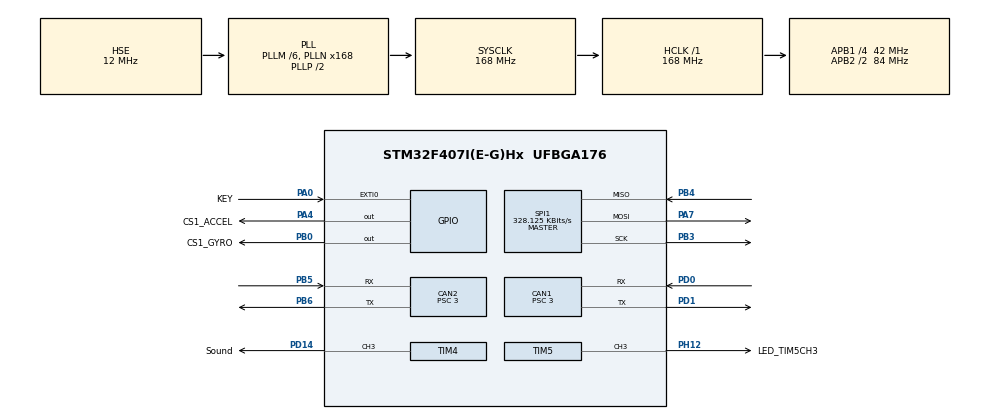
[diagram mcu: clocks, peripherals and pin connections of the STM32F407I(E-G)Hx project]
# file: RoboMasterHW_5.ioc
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CAN1.ABOM=ENABLE
CAN1.BS1=CAN_BS1_9TQ
CAN1.BS2=CAN_BS2_4TQ
CAN1.CalculateBaudRate=1000000
CAN1.CalculateTimeBit=1000
CAN1.CalculateTimeQuantum=71.42857142857143
CAN1.NART=ENABLE
CAN1.Prescaler=3
CAN2.ABOM=ENABLE
CAN2.BS1=CAN_BS1_9TQ
CAN2.BS2=CAN_BS2_4TQ
CAN2.CalculateBaudRate=1000000
CAN2.CalculateTimeBit=1000
CAN2.CalculateTimeQuantum=71.42857142857143
CAN2.NART=ENABLE
CAN2.Prescaler=3
Mcu.Family=STM32F4
Mcu.Name=STM32F407I(E-G)Hx
Mcu.Package=UFBGA176
NVIC.CAN1_RX0_IRQn=true\:5\:0\:true\:false\:true\:true\:true\:true
NVIC.EXTI0_IRQn=true\:0\:0\:false\:false\:true\:true\:true\:true
NVIC.PriorityGroup=NVIC_PRIORITYGROUP_4
NVIC.TIM1_UP_TIM10_IRQn=true\:0\:0\:false\:false\:true\:true\:true\:true
NVIC.TIM6_DAC_IRQn=true\:6\:0\:true\:false\:true\:true\:true\:true
PA0-WKUP.GPIO_Label=KEY
PA0-WKUP.GPIO_PuPd=GPIO_PULLDOWN
PA0-WKUP.Signal=GPXTI0
PA13.Mode=Serial_Wire
PA13.Signal=SYS_JTMS-SWDIO
PA14.Mode=Serial_Wire
PA14.Signal=SYS_JTCK-SWCLK
PA4.GPIO_Label=CS1_ACCEL
PA4.GPIO_ModeDefaultOutputPP=GPIO_MODE_OUTPUT_PP
PA4.GPIO_PuPd=GPIO_PULLUP
PA4.GPIO_Speed=GPIO_SPEED_FREQ_HIGH
PA4.Signal=GPIO_Output
PA7.GPIO_PuPd=GPIO_NOPULL
PA7.GPIO_Speed=GPIO_SPEED_FREQ_VERY_HIGH
PA7.Mode=Full_Duplex_Master
PA7.Signal=SPI1_MOSI
PA9.GPIO_Label=LED_T2
PA9.Signal=S_TIM1_CH2
PB0.GPIO_Label=CS1_GYRO
PB0.GPIO_ModeDefaultOutputPP=GPIO_MODE_OUTPUT_PP
PB0.GPIO_PuPd=GPIO_PULLUP
PB0.GPIO_Speed=GPIO_SPEED_FREQ_HIGH
PB0.Signal=GPIO_Output
PB3.GPIO_PuPd=GPIO_NOPULL
PB3.GPIO_Speed=GPIO_SPEED_FREQ_VERY_HIGH
PB3.Mode=Full_Duplex_Master
PB3.Signal=SPI1_SCK
PB4.GPIO_PuPd=GPIO_NOPULL
PB4.GPIO_Speed=GPIO_SPEED_FREQ_VERY_HIGH
PB4.Mode=Full_Duplex_Master
PB4.Signal=SPI1_MISO
PB5.Mode=CAN_Activate
PB5.Signal=CAN2_RX
PB6.Mode=CAN_Activate
PB6.Signal=CAN2_TX
PD0.Mode=CAN_Activate
PD0.Signal=CAN1_RX
PD1.Mode=CAN_Activate
PD1.Signal=CAN1_TX
PD14.GPIO_Label=Sound
PD14.Signal=S_TIM4_CH3
PH0-OSC_IN.Mode=HSE-External-Oscillator
PH0-OSC_IN.Signal=RCC_OSC_IN
PH1-OSC_OUT.Mode=HSE-External-Oscillator
PH1-OSC_OUT.Signal=RCC_OSC_OUT
PH12.GPIO_Label=LED_TIM5CH3
PH12.Signal=S_TIM5_CH3
ProjectManager.HeapSize=0x200
ProjectManager.StackSize=0x400
ProjectManager.TargetToolchain=MDK-ARM V5.32
RCC.48MHZClocksFreq_Value=84000000
RCC.AHBFreq_Value=168000000
RCC.APB1CLKDivider=RCC_HCLK_DIV4
RCC.APB1Freq_Value=42000000
RCC.APB1TimFreq_Value=84000000
RCC.APB2CLKDivider=RCC_HCLK_DIV2
RCC.APB2Freq_Value=84000000
RCC.APB2TimFreq_Value=168000000
RCC.CortexFreq_Value=168000000
RCC.HCLKFreq_Value=168000000
RCC.HSE_VALUE=12000000
RCC.HSI_VALUE=16000000
RCC.LSE_VALUE=32768
RCC.PLLM=6
RCC.PLLN=168
RCC.PLLSourceVirtual=RCC_PLLSOURCE_HSE
RCC.SYSCLKFreq_VALUE=168000000
RCC.SYSCLKSource=RCC_SYSCLKSOURCE_PLLCLK
RCC.VCOOutputFreq_Value=336000000
SH.S_TIM1_CH2.0=TIM1_CH2
SH.S_TIM4_CH3.0=TIM4_CH3,PWM Generation3 CH3
SH.S_TIM5_CH3.0=TIM5_CH3,PWM Generation3 CH3
SPI1.BaudRatePrescaler=SPI_BAUDRATEPRESCALER_256
SPI1.CLKPhase=SPI_PHASE_2EDGE
SPI1.CLKPolarity=SPI_POLARITY_HIGH
SPI1.CRCCalculation=SPI_CRCCALCULATION_DISABLE
SPI1.CalculateBaudRate=328.125 KBits/s
SPI1.DataSize=SPI_DATASIZE_8BIT
SPI1.Direction=SPI_DIRECTION_2LINES
SPI1.FirstBit=SPI_FIRSTBIT_MSB
SPI1.Mode=SPI_MODE_MASTER
SPI1.NSS=SPI_NSS_SOFT
SPI1.TIMode=SPI_TIMODE_DISABLE
SPI1.VirtualType=VM_MASTER
TIM4.Channel-PWM\ Generation3\ CH3=TIM_CHANNEL_3
TIM4.Period=499
TIM4.Prescaler=83
TIM4.Pulse-PWM\ Generation3\ CH3=250
TIM5.Channel-PWM\ Generation3\ CH3=TIM_CHANNEL_3
TIM5.Period=999
TIM5.Prescaler=179
TIM5.Pulse-PWM\ Generation3\ CH3=500
TIM6.AutoReloadPreload=TIM_AUTORELOAD_PRELOAD_ENABLE
TIM6.Period=999
TIM6.Prescaler=83
VP_TIM1_VS_ClockSourceINT.Mode=Internal
VP_TIM4_VS_ClockSourceINT.Mode=Internal
VP_TIM5_VS_ClockSourceINT.Mode=Internal
VP_TIM6_VS_ClockSourceINT.Mode=Enable_Timer
board=custom

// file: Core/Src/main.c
/* USER CODE BEGIN Header */
/**
  ******************************************************************************
  * @file           : main.c
  * @brief          : Main program body (精简版，仅保留电机控制)
  ******************************************************************************
  */
/* USER CODE END Header */
#include "main.h"
#include "can.h"
#include "spi.h"
#include "tim.h"
#include "gpio.h"

/* USER CODE BEGIN Includes */
#include "can_user.h"
#include "bmi088.h"
/* USER CODE END Includes */

/* USER CODE BEGIN PV */
// 当前目标角度（可通过按键切换进行测试）
extern volatile uint32_t stop_flag;
extern volatile uint32_t zero_request;
volatile float target_angle_cmd = 0.0f;
volatile uint8_t bmi088_ok = 0;
/* USER CODE END PV */

void SystemClock_Config(void);
/* USER CODE BEGIN PFP */
// 声明 C++ 桥接函数
extern void motor_set_target_angle(float angle);
extern void motor_set_stop_flag(int flag);
extern void motor_request_zero(void);
extern void motor_set_feedforward_only(void);
/* USER CODE END PFP */

int main(void)
{

  /* MCU Configuration--------------------------------------------------------*/

  /* Reset of all peripherals, Initializes the Flash interface and the Systick. */
  HAL_Init();

  /* Configure the system clock */
  SystemClock_Config();

  /* Initialize all configured peripherals */
  MX_GPIO_Init();
  MX_TIM4_Init();
  MX_TIM1_Init();
  MX_TIM5_Init();
  MX_CAN1_Init();
  MX_CAN2_Init();
  MX_TIM6_Init();
  MX_SPI1_Init();
  /* USER CODE BEGIN 2 */
  bmi088_ok = bmi088_init();
  if (HAL_CAN_ConfigFilter(&hcan1, &can_filter_config) != HAL_OK ||
      HAL_CAN_Start(&hcan1) != HAL_OK ||
      HAL_CAN_ActivateNotification(&hcan1, CAN_IT_RX_FIFO0_MSG_PENDING) != HAL_OK ||
      HAL_TIM_Base_Start_IT(&htim6) != HAL_OK) {
      Error_Handler();
  }

  motor_set_stop_flag(1);
  motor_set_feedforward_only();
  motor_set_target_angle(0.0f);

  // 3. 设置初始目标角度为 0 度
  /* USER CODE END 2 */

  /* Infinite loop */
  /* USER CODE BEGIN WHILE */
  while (1)
  {
    // 空循环，电机控制完全交给 TIM6 中断和 CAN 回调处理
    // 你可以在这里加一个延时，防止空循环占用太多CPU（虽然不占用也不影响）
    HAL_Delay(10);
    /* USER CODE END WHILE */

  }
}

void SystemClock_Config(void)
{
  RCC_OscInitTypeDef RCC_OscInitStruct = {0};
  RCC_ClkInitTypeDef RCC_ClkInitStruct = {0};

  /** Configure the main internal regulator output voltage
  */
  __HAL_RCC_PWR_CLK_ENABLE();
  __HAL_PWR_VOLTAGESCALING_CONFIG(PWR_REGULATOR_VOLTAGE_SCALE1);

  /** Initializes the RCC Oscillators according to the specified parameters
  * in the RCC_OscInitTypeDef structure.
  */
  RCC_OscInitStruct.OscillatorType = RCC_OSCILLATORTYPE_LSI|RCC_OSCILLATORTYPE_HSE;
  RCC_OscInitStruct.HSEState = RCC_HSE_ON;
  RCC_OscInitStruct.LSIState = RCC_LSI_ON;
  RCC_OscInitStruct.PLL.PLLState = RCC_PLL_ON;
  RCC_OscInitStruct.PLL.PLLSource = RCC_PLLSOURCE_HSE;
  RCC_OscInitStruct.PLL.PLLM = 6;
  RCC_OscInitStruct.PLL.PLLN = 168;
  RCC_OscInitStruct.PLL.PLLP = RCC_PLLP_DIV2;
  RCC_OscInitStruct.PLL.PLLQ = 4;
  if (HAL_RCC_OscConfig(&RCC_OscInitStruct) != HAL_OK)
  {
    Error_Handler();
  }

  /** Initializes the CPU, AHB and APB buses clocks
  */
  RCC_ClkInitStruct.ClockType = RCC_CLOCKTYPE_HCLK|RCC_CLOCKTYPE_SYSCLK
                              |RCC_CLOCKTYPE_PCLK1|RCC_CLOCKTYPE_PCLK2;
  RCC_ClkInitStruct.SYSCLKSource = RCC_SYSCLKSOURCE_PLLCLK;
  RCC_ClkInitStruct.AHBCLKDivider = RCC_SYSCLK_DIV1;
  RCC_ClkInitStruct.APB1CLKDivider = RCC_HCLK_DIV4;
  RCC_ClkInitStruct.APB2CLKDivider = RCC_HCLK_DIV2;

  if (HAL_RCC_ClockConfig(&RCC_ClkInitStruct, FLASH_LATENCY_5) != HAL_OK)
  {
    Error_Handler();
  }
}

/* USER CODE BEGIN 4 */
// 利用按键中断来切换目标角度，方便测试前馈效果
void HAL_GPIO_EXTI_Callback(uint16_t GPIO_Pin)
{
  if (GPIO_Pin == KEY_Pin) // 确保 KEY_Pin 是你在 CubeMX 里配置的按键引脚宏
  {
    static uint32_t last_key_tick = 0;
    static uint8_t has_last_key_tick = 0;
    uint32_t now = HAL_GetTick();

    // 20ms 软件消抖
    if (!has_last_key_tick || (now - last_key_tick) >= 20U)
    {
      has_last_key_tick = 1;
      last_key_tick = now;

      // 切换目标角度: 0 -> 30 -> 45 -> 90 -> 0 ...
      if (target_angle_cmd == 0.0f) {
          target_angle_cmd = 30.0f;
      } else if (target_angle_cmd == 30.0f) {
          target_angle_cmd = 45.0f;
      } else if (target_angle_cmd == 45.0f) {
          target_angle_cmd = 90.0f;
      } else {
          target_angle_cmd = 0.0f;
      }

      // 将新角度传给电机
      motor_set_target_angle(target_angle_cmd);
    }
  }
}
/* USER CODE END 4 */

void Error_Handler(void)
{
  __disable_irq();
  while (1)
  {
  }
}
